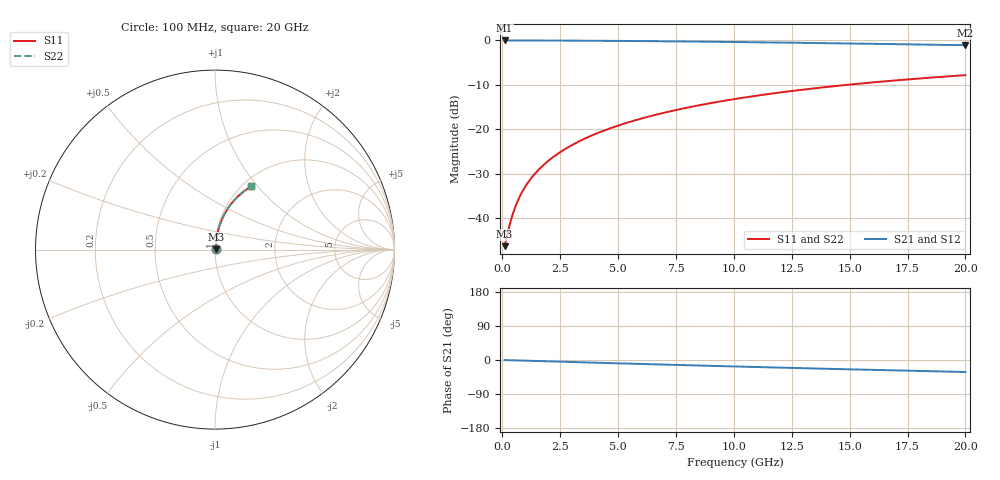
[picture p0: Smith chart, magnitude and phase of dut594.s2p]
! Touchstone file exported from HFSS 2024.1.0
!  File:  C:/UserFiles/LocalFiles/RDL_TSV_Batchsim/temp_RDL_bottom_594_1779691256.aedt
!  Generated:  02:43:30 PM May 25, 2026
!  Design:  RDL_bottom
!  Project:  temp_RDL_bottom_594_1779691256
!  Setup:  Setup1
!  Solution:  Sweep
! Variables:
!  dtsv = 10.80580581um
!  hbump = 3um
!  htsv = 65.74um
!  ldown = 335.52um
!  lrdl = 100um
!  p = 40
!  p1 = 56.53um
!  rhole = 1um
!  t = 450um
!  tdown = 2.41um
!  trdl = 3.915915916um
!  wdown = 11.87um
!  wrdl = 20um
# GHz S MA R 50.000000
! Terminal data exported
! Port[1] = RDL1_T1
! Port[2] = RDL1_T2
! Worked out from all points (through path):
!   200 points, 100 MHz to 20 GHz, reference 50 ohm
!   highest |S21| = -0.04 dB at 100 MHz (marker M1); lowest = -1.1 dB at 20 GHz (marker M2)
!   group delay of S21, straight-line fit = 4.39 ps
!   lowest |S11| = -46.2 dB at 100 MHz (marker M3), VSWR 1.01, Z = 50.4 + j0.229 ohm
!   |S11| at or under -10 dB: start of sweep to 14.89 GHz
!   |S22| runs from -46.2 to -7.8 dB; largest |S21 - S12| = 2.6e-15
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0.1  0.00489 27.7  0.9957 -0.2  0.9957 -0.2  0.00489 27.7
! Gamma 0 0 0 0
! Port Impedance 50 0 50 0
0.3  0.008116 57.0  0.9956 -0.5  0.9956 -0.5  0.008116 57.0
0.4  0.01011 63.6  0.9955 -0.7  0.9955 -0.7  0.01011 63.6
0.5  0.0122 67.9  0.9954 -0.9  0.9954 -0.9  0.0122 67.9
0.6  0.01433 70.8  0.9953 -1.1  0.9953 -1.1  0.01433 70.8
0.7  0.01647 73.0  0.9952 -1.3  0.9952 -1.3  0.01647 73.0
0.9  0.0208 75.8  0.9949 -1.6  0.9949 -1.6  0.0208 75.8
1.2  0.0273 78.3  0.9945 -2.2  0.9945 -2.2  0.0273 78.3
1.4  0.03163 79.3  0.9942 -2.5  0.9942 -2.5  0.03164 79.3
1.7  0.03814 80.3  0.9937 -3.0  0.9937 -3.0  0.03814 80.3
2.2  0.04901 81.1  0.9928 -3.9  0.9928 -3.9  0.04901 81.1
2.8  0.0621 81.5  0.9914 -5.0  0.9914 -5.0  0.0621 81.5
3.5  0.07741 81.4  0.9894 -6.2  0.9894 -6.2  0.07741 81.4
4.2  0.09276 81.1  0.9871 -7.4  0.9871 -7.4  0.09276 81.1
5  0.1103 80.4  0.984 -8.8  0.984 -8.8  0.1103 80.4
5.9  0.1301 79.5  0.9801 -10.3  0.9801 -10.3  0.1301 79.5
6.8  0.1497 78.4  0.9757 -11.8  0.9757 -11.8  0.1497 78.4
8.3  0.1822 76.5  0.9675 -14.3  0.9675 -14.3  0.1822 76.5
10.1  0.2205 74.0  0.9564 -17.2  0.9564 -17.2  0.2205 74.0
13.4  0.2875 69.3  0.9332 -22.3  0.9332 -22.3  0.2875 69.3
16.7  0.3495 64.6  0.9075 -27.1  0.9075 -27.1  0.3496 64.6
20  0.4059 60.1  0.8803 -31.6  0.8803 -31.6  0.406 60.1
